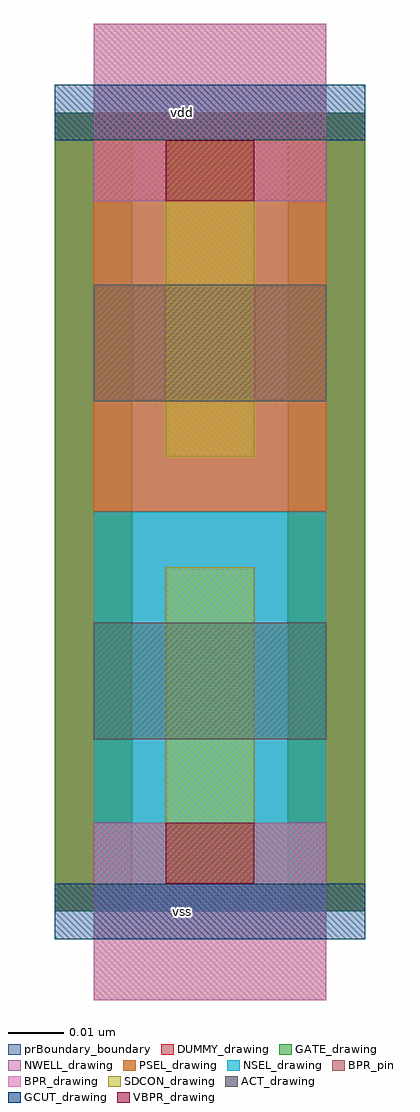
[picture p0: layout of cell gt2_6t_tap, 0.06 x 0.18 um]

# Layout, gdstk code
import gdstk
lib = gdstk.Library(unit=1e-6, precision=5e-10)
def R(c, l, rs):  # rectangles x0, y0, x1, y1
    for r in rs: c.add(gdstk.rectangle(r[:2], r[2:], *l))
NWELL_drawing = (1, 0)
ACT_drawing = (2, 0)
GATE_drawing = (3, 0)
DUMMY_drawing = (4, 0)
GCUT_drawing = (5, 0)
NSEL_drawing = (6, 0)
PSEL_drawing = (7, 0)
BPR_drawing = (8, 0)
BPR_pin = (8, 251)
VBPR_drawing = (9, 0)
SDCON_drawing = (10, 0)
prBoundary_boundary = (235, 250)

gt2_6t_tap = lib.new_cell('gt2_6t_tap')
R(gt2_6t_tap, NWELL_drawing, [(0,0.072,0.042,0.144)])
R(gt2_6t_tap, ACT_drawing, [(0,0.031,0.042,0.052), (0,0.092,0.042,0.113)])
R(gt2_6t_tap, GATE_drawing, [(-0.007,0,0.007,0.144), (0.035,0,0.049,0.144)])
R(gt2_6t_tap, DUMMY_drawing, [(-0.007,0,0.007,0.144), (0.035,0,0.049,0.144)])
R(gt2_6t_tap, GCUT_drawing, [(-0.007,-0.005,0.049,0.005), (-0.007,0.139,0.049,0.149)])
R(gt2_6t_tap, NSEL_drawing, [(0,0,0.042,0.072)])
R(gt2_6t_tap, PSEL_drawing, [(0,0.072,0.042,0.144)])
R(gt2_6t_tap, BPR_drawing, [(0,-0.016,0.042,0.016), (0,0.128,0.042,0.16)])
R(gt2_6t_tap, BPR_pin, [(0,-0.016,0.042,0.016), (0,0.128,0.042,0.16)])
R(gt2_6t_tap, VBPR_drawing, [(0.013,0.005,0.029,0.016), (0.013,0.128,0.029,0.139)])
R(gt2_6t_tap, SDCON_drawing, [(0.013,0.005,0.029,0.062), (0.013,0.082,0.029,0.139)])
R(gt2_6t_tap, prBoundary_boundary, [(0,0,0.042,0.144)])
gt2_6t_tap.add(gdstk.Label('vdd', (0.016,0.144), layer=8, texttype=251))
gt2_6t_tap.add(gdstk.Label('vss', (0.016,0), layer=8, texttype=251))

lib.write_gds('gt2_6t_tap.gds')
